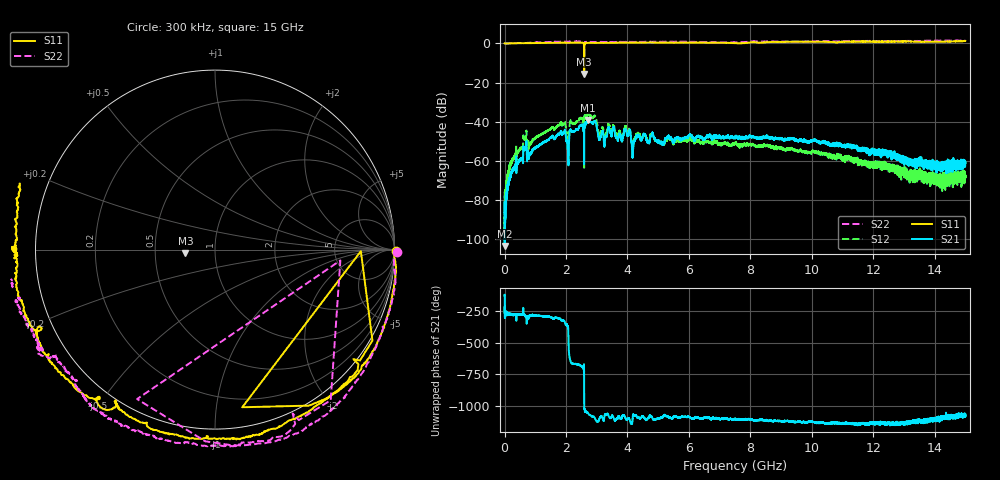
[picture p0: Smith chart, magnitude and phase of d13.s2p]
!Agilent Technologies,N5230C,SG49000117,A.08.50.07
!Agilent N5230C: A.08.50.07
!Date: Friday, May 17, 2024 04:51:43
!Correction: S11(Full 2 Port(1,2))
!S21(Full 2 Port(1,2))
!S12(Full 2 Port(1,2))
!S22(Full 2 Port(1,2))
!S2P File: Measurements: S11, S21, S12, S22:
# Hz S  MA  R 50
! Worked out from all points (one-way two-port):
!   20001 points, 300 kHz to 15 GHz, reference 50 ohm
!   highest |S21| = -39.16 dB at 2.705 GHz (marker M1); lowest = -103.5 dB at 4.8 MHz (marker M2)
!   lowest |S11| = -15.6 dB at 2.589 GHz (marker M3), VSWR 1.40, Z = 35.8 - j1.43 ohm
!   |S11| at or under -10 dB: 2.588583 GHz to 2.590606 GHz (2.023 MHz wide, 0.0781 % of centre)
!   |S22| runs from -10.8 to 1.5 dB; largest |S21 - S12| = 0.0092
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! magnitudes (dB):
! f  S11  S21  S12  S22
! 300 kHz  0.1  -87.0  -88.9  0.1
! 4.8 MHz  0.0  -103.5  -103.7  0.0
! 201.3 MHz  0.1  -67.1  -61.5  0.1
! 646 MHz  0.2  -54.2  -48.7  0.3
! 797.5 MHz  0.2  -58.0  -52.4  0.3
! 1.896 GHz  0.4  -45.7  -41.1  0.9
! 2.053 GHz  0.4  -53.8  -49.2  0.9
! 2.18 GHz  0.4  -44.9  -40.2  1.0
! 2.501 GHz  0.4  -41.6  -38.0  0.9
! 2.589 GHz  -15.6  -47.2  -48.2  -8.0
! 2.705 GHz  0.3  -39.2  -36.4  0.8
! 3.263 GHz  0.3  -50.5  -48.3  0.8
! 3.404 GHz  0.4  -43.2  -41.7  0.8
! 4.002 GHz  0.5  -46.8  -45.8  0.8
! 4.187 GHz  0.5  -53.2  -53.0  0.8
! 4.341 GHz  0.5  -46.6  -45.6  0.9
! 5 GHz  0.5  -50.4  -50.7  0.9
! 7.5 GHz  0.2  -47.8  -50.9  0.6
! 10 GHz  0.9  -49.9  -55.2  1.1
! 12.5 GHz  0.9  -57.1  -63.8  1.2
! 14.19 GHz  0.9  -63.8  -72.6  1.4
! 15 GHz  1.3  -61.1  -68.1  1.5
